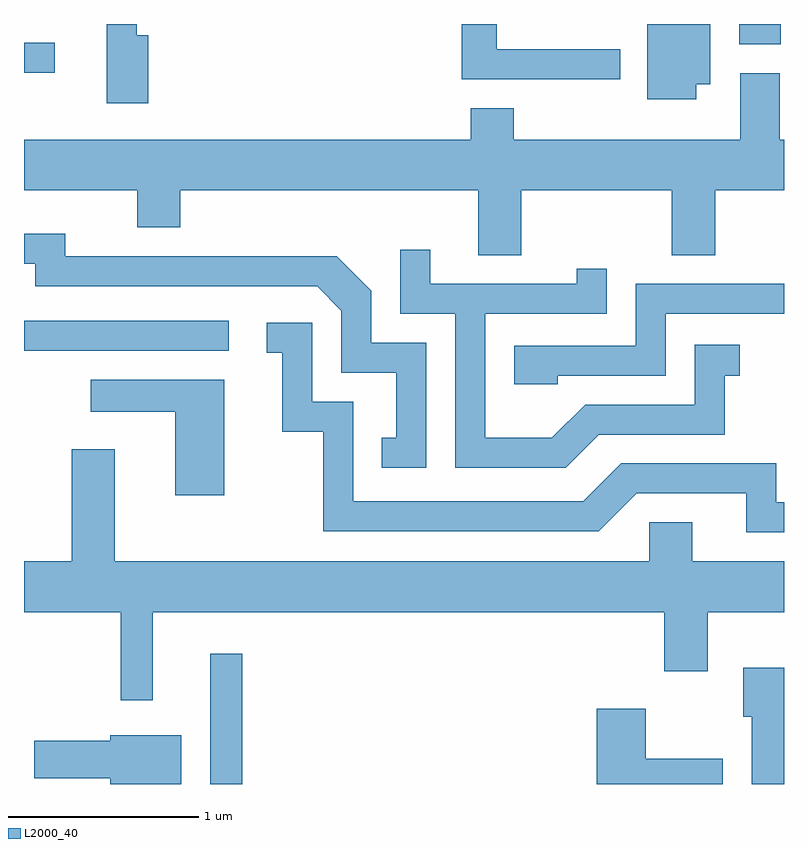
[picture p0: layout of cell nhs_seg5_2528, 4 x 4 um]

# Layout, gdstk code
import gdstk
lib = gdstk.Library(unit=1e-6, precision=1e-09)
def R(c, l, rs):  # rectangles x0, y0, x1, y1
    for r in rs: c.add(gdstk.rectangle(r[:2], r[2:], *l))
def P(c, l, *ps):  # polygons
    for p in ps: c.add(gdstk.Polygon(p, *l))
L2000_40 = (2000, 40)

nhs_seg5_2528 = lib.new_cell('nhs_seg5_2528')
R(nhs_seg5_2528, L2000_40, [(260.591,1498.072,260.759,1498.758), (259.611,1500.351,260.688,1500.509), (259.611,1501.816,259.772,1501.974), (263.376,1501.966,263.594,1502.072)])
P(nhs_seg5_2528, L2000_40, [(263.149,1501.756),(263.224,1501.756),(263.224,1502.072),(262.891,1502.072),(262.891,1501.676),(263.149,1501.676)],
  [(260.264,1502.014),(260.204,1502.014),(260.204,1502.072),(260.046,1502.072),(260.046,1501.656),(260.264,1501.656)],
  [(262.748,1501.939),(262.099,1501.939),(262.099,1502.072),(261.916,1502.072),(261.916,1501.781),(262.748,1501.781)],
  [(262.229,1501.196),(263.021,1501.196),(263.021,1500.856),(263.249,1500.856),(263.249,1501.196),(263.611,1501.196),(263.611,1501.464),(263.589,1501.464),(263.589,1501.814),(263.381,1501.814),(263.381,1501.464),(262.189,1501.464),(262.189,1501.629),(261.961,1501.629),(261.961,1501.464),(259.611,1501.464),(259.611,1501.196),(260.206,1501.196),(260.206,1501.001),(260.434,1501.001),(260.434,1501.196),(262.001,1501.196),(262.001,1500.856),(262.229,1500.856)],
  [(261.729,1500.394),(261.439,1500.394),(261.439,1500.667),(261.257,1500.849),(259.829,1500.849),(259.829,1500.969),(259.611,1500.969),(259.611,1500.811),(259.671,1500.811),(259.671,1500.691),(261.154,1500.691),(261.281,1500.564),(261.281,1500.236),(261.571,1500.236),(261.571,1499.894),(261.493,1499.894),(261.493,1499.736),(261.729,1499.736)],
  [(262.637,1499.911),(263.299,1499.911),(263.299,1500.221),(263.378,1500.221),(263.378,1500.384),(263.141,1500.384),(263.141,1500.069),(262.564,1500.069),(262.389,1499.894),(262.039,1499.894),(262.039,1500.546),(262.679,1500.546),(262.679,1500.783),(262.521,1500.783),(262.521,1500.704),(261.749,1500.704),(261.749,1500.883),(261.591,1500.883),(261.591,1500.546),(261.881,1500.546),(261.881,1499.736),(262.462,1499.736)],
  [(262.419,1500.221),(262.989,1500.221),(262.989,1500.546),(263.611,1500.546),(263.611,1500.704),(262.831,1500.704),(262.831,1500.379),(262.191,1500.379),(262.191,1500.176),(262.419,1500.176)],
  [(263.611,1499.554),(263.569,1499.554),(263.569,1499.759),(262.754,1499.759),(262.554,1499.559),(261.344,1499.559),(261.344,1500.084),(261.129,1500.084),(261.129,1500.499),(260.888,1500.499),(260.888,1500.341),(260.971,1500.341),(260.971,1499.926),(261.186,1499.926),(261.186,1499.401),(262.637,1499.401),(262.837,1499.601),(263.411,1499.601),(263.411,1499.396),(263.611,1499.396)],
  [(260.664,1500.199),(259.962,1500.199),(259.962,1500.031),(260.406,1500.031),(260.406,1499.591),(260.664,1499.591)],
  [(260.289,1498.976),(262.981,1498.976),(262.981,1498.666),(263.209,1498.666),(263.209,1498.976),(263.611,1498.976),(263.611,1499.244),(263.129,1499.244),(263.129,1499.449),(262.901,1499.449),(262.901,1499.244),(260.089,1499.244),(260.089,1499.834),(259.861,1499.834),(259.861,1499.244),(259.611,1499.244),(259.611,1498.976),(260.121,1498.976),(260.121,1498.513),(260.289,1498.513)],
  [(263.611,1498.684),(263.396,1498.684),(263.396,1498.426),(263.441,1498.426),(263.441,1498.072),(263.611,1498.072)],
  [(263.289,1498.204),(262.884,1498.204),(262.884,1498.469),(262.626,1498.469),(262.626,1498.072),(263.289,1498.072)],
  [(260.439,1498.329),(260.066,1498.329),(260.066,1498.299),(259.666,1498.299),(259.666,1498.101),(260.066,1498.101),(260.066,1498.072),(260.439,1498.072)])

lib.write_gds('nhs_seg5_2528.gds')
